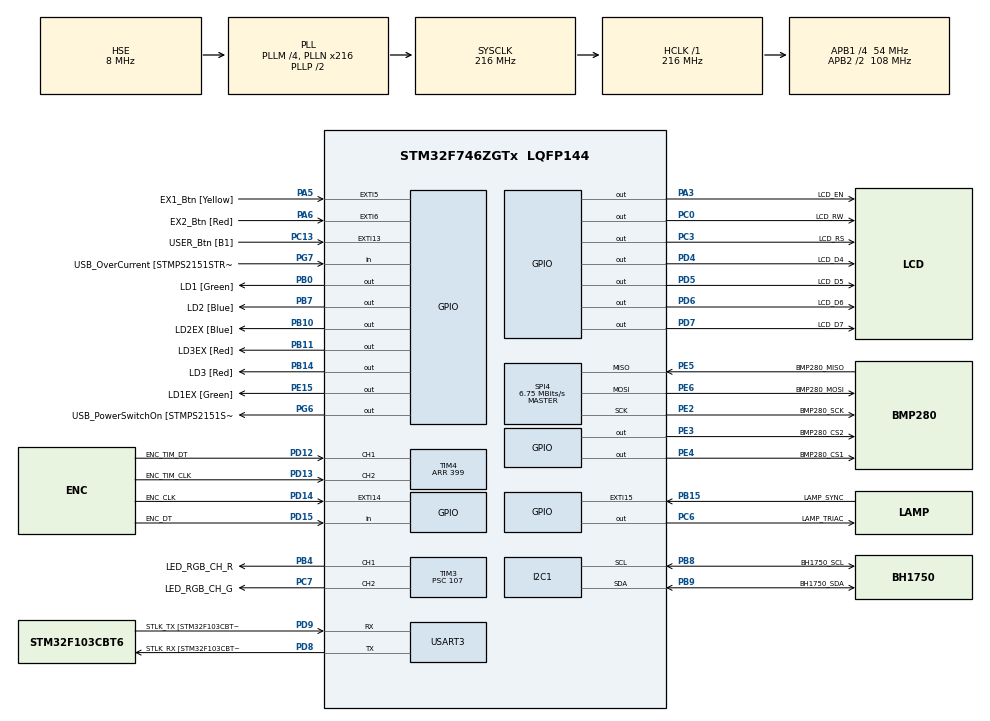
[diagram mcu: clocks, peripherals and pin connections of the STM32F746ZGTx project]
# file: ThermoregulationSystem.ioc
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I2C1.Timing=0x20404768
Mcu.Family=STM32F7
Mcu.Name=STM32F746ZGTx
Mcu.Package=LQFP144
NVIC.EXTI15_10_IRQn=true\:0\:0\:false\:false\:true\:true\:true
NVIC.EXTI9_5_IRQn=true\:0\:0\:false\:false\:true\:true\:true
NVIC.PriorityGroup=NVIC_PRIORITYGROUP_4
NVIC.TIM2_IRQn=true\:0\:0\:false\:false\:true\:true\:true
NVIC.USART3_IRQn=true\:0\:0\:false\:false\:true\:true\:true
PA1.GPIO_Label=RMII_REF_CLK [LAN8742A-CZ-TR_REFCLK0]
PA1.Signal=ETH_REF_CLK
PA10.GPIO_Label=USB_ID
PA10.Signal=USB_OTG_FS_ID
PA11.GPIO_Label=USB_DM
PA11.Signal=USB_OTG_FS_DM
PA12.GPIO_Label=USB_DP
PA12.Signal=USB_OTG_FS_DP
PA13.GPIO_Label=TMS
PA13.Mode=Serial_Wire
PA13.Signal=SYS_JTMS-SWDIO
PA14.GPIO_Label=TCK
PA14.Mode=Serial_Wire
PA14.Signal=SYS_JTCK-SWCLK
PA2.GPIO_Label=RMII_MDIO [LAN8742A-CZ-TR_MDIO]
PA2.Signal=ETH_MDIO
PA3.GPIO_Label=LCD_EN
PA3.Signal=GPIO_Output
PA5.GPIO_Label=EX1_Btn [Yellow]
PA5.GPIO_ModeDefaultEXTI=GPIO_MODE_IT_FALLING
PA5.Signal=GPXTI5
PA6.GPIO_Label=EX2_Btn [Red]
PA6.GPIO_ModeDefaultEXTI=GPIO_MODE_IT_RISING
PA6.Signal=GPXTI6
PA8.GPIO_Label=USB_SOF [TP1]
PA8.Signal=USB_OTG_FS_SOF
PA9.GPIO_Label=USB_VBUS
PA9.Signal=USB_OTG_FS_VBUS
PB0.GPIO_Label=LD1 [Green]
PB0.Signal=GPIO_Output
PB1.GPIO_Label=TM3_PWM_CH4
PB1.Signal=S_TIM3_CH4
PB10.GPIO_Label=LD2EX [Blue]
PB10.Signal=GPIO_Output
PB11.GPIO_Label=LD3EX [Red]
PB11.Signal=GPIO_Output
PB13.GPIO_Label=RMII_TXD1 [LAN8742A-CZ-TR_TXD1]
PB13.Signal=ETH_TXD1
PB14.GPIO_Label=LD3 [Red]
PB14.Signal=GPIO_Output
PB15.GPIO_Label=LAMP_SYNC
PB15.Signal=GPXTI15
PB3.GPIO_Label=SW0
PB3.Signal=SYS_JTDO-SWO
PB4.GPIO_Label=LED_RGB_CH_R
PB4.Signal=S_TIM3_CH1
PB7.GPIO_Label=LD2 [Blue]
PB7.Signal=GPIO_Output
PB8.GPIO_Label=BH1750_SCL
PB8.Mode=I2C
PB8.Signal=I2C1_SCL
PB9.GPIO_Label=BH1750_SDA
PB9.Mode=I2C
PB9.Signal=I2C1_SDA
PC0.GPIO_Label=LCD_RW
PC0.Signal=GPIO_Output
PC1.GPIO_Label=RMII_MDC [LAN8742A-CZ-TR_MDC]
PC1.Signal=ETH_MDC
PC13.GPIO_Label=USER_Btn [B1]
PC13.Signal=GPXTI13
PC14/OSC32_IN.Mode=LSE-External-Oscillator
PC14/OSC32_IN.Signal=RCC_OSC32_IN
PC15/OSC32_OUT.Mode=LSE-External-Oscillator
PC15/OSC32_OUT.Signal=RCC_OSC32_OUT
PC3.GPIO_Label=LCD_RS
PC3.Signal=GPIO_Output
PC4.GPIO_Label=RMII_RXD0 [LAN8742A-CZ-TR_RXD0]
PC4.Signal=ETH_RXD0
PC5.GPIO_Label=RMII_RXD1 [LAN8742A-CZ-TR_RXD1]
PC5.Signal=ETH_RXD1
PC6.GPIO_Label=LAMP_TRIAC
PC6.GPIO_Speed=GPIO_SPEED_FREQ_HIGH
PC6.Signal=GPIO_Output
PC7.GPIO_Label=LED_RGB_CH_G
PC7.Signal=S_TIM3_CH2
PC8.GPIO_Label=LED_RGB_CH_B
PC8.Signal=S_TIM3_CH3
PD12.GPIO_Label=ENC_TIM_DT
PD12.Signal=S_TIM4_CH1
PD13.GPIO_Label=ENC_TIM_CLK
PD13.Signal=S_TIM4_CH2
PD14.GPIO_Label=ENC_CLK
PD14.GPIO_ModeDefaultEXTI=GPIO_MODE_IT_FALLING
PD14.Signal=GPXTI14
PD15.GPIO_Label=ENC_DT
PD15.Signal=GPIO_Input
PD4.GPIO_Label=LCD_D4
PD4.Signal=GPIO_Output
PD5.GPIO_Label=LCD_D5
PD5.Signal=GPIO_Output
PD6.GPIO_Label=LCD_D6
PD6.Signal=GPIO_Output
PD7.GPIO_Label=LCD_D7
PD7.Signal=GPIO_Output
PD8.GPIO_Label=STLK_RX [STM32F103CBT6_PA3]
PD8.Mode=Asynchronous
PD8.Signal=USART3_TX
PD9.GPIO_Label=STLK_TX [STM32F103CBT6_PA2]
PD9.Mode=Asynchronous
PD9.Signal=USART3_RX
PE15.GPIO_Label=LD1EX [Green]
PE15.Signal=GPIO_Output
PE2.GPIO_Label=BMP280_SCK
PE2.Mode=Full_Duplex_Master
PE2.Signal=SPI4_SCK
PE3.GPIO_Label=BMP280_CS2
PE3.GPIO_Speed=GPIO_SPEED_FREQ_VERY_HIGH
PE3.PinState=GPIO_PIN_SET
PE3.Signal=GPIO_Output
PE4.GPIO_Label=BMP280_CS1
PE4.GPIO_Speed=GPIO_SPEED_FREQ_VERY_HIGH
PE4.PinState=GPIO_PIN_SET
PE4.Signal=GPIO_Output
PE5.GPIO_Label=BMP280_MISO
PE5.Mode=Full_Duplex_Master
PE5.Signal=SPI4_MISO
PE6.GPIO_Label=BMP280_MOSI
PE6.Mode=Full_Duplex_Master
PE6.Signal=SPI4_MOSI
PG11.GPIO_Label=RMII_TX_EN [LAN8742A-CZ-TR_TXEN]
PG11.Signal=ETH_TX_EN
PG13.GPIO_Label=RMII_TXD0 [LAN8742A-CZ-TR_TXD0]
PG13.Signal=ETH_TXD0
PG6.GPIO_Label=USB_PowerSwitchOn [STMPS2151STR_EN]
PG6.Signal=GPIO_Output
PG7.GPIO_Label=USB_OverCurrent [STMPS2151STR_FAULT]
PG7.Signal=GPIO_Input
PH0/OSC_IN.GPIO_Label=MCO [STM32F103CBT6_PA8]
PH0/OSC_IN.Mode=HSE-External-Clock-Source
PH0/OSC_IN.Signal=RCC_OSC_IN
PH1/OSC_OUT.Mode=HSE-External-Clock-Source
PH1/OSC_OUT.Signal=RCC_OSC_OUT
ProjectManager.HeapSize=0x200
ProjectManager.StackSize=0x400
ProjectManager.TargetToolchain=STM32CubeIDE
RCC.48MHZClocksFreq_Value=24000000
RCC.AHBFreq_Value=216000000
RCC.APB1CLKDivider=RCC_HCLK_DIV4
RCC.APB1Freq_Value=54000000
RCC.APB1TimFreq_Value=108000000
RCC.APB2CLKDivider=RCC_HCLK_DIV2
RCC.APB2Freq_Value=108000000
RCC.APB2TimFreq_Value=216000000
RCC.CortexFreq_Value=216000000
RCC.HCLKFreq_Value=216000000
RCC.HSE_VALUE=8000000
RCC.HSI_VALUE=16000000
RCC.PLLM=4
RCC.PLLMUL=RCC_PLL_MUL9
RCC.PLLN=216
RCC.PLLQ=3
RCC.PLLSourceVirtual=RCC_PLLSOURCE_HSE
RCC.PRESCALERUSB=RCC_USBCLKSOURCE_PLL_DIV1_5
RCC.SYSCLKFreq_VALUE=216000000
RCC.SYSCLKSource=RCC_SYSCLKSOURCE_PLLCLK
RCC.SYSCLKSourceVirtual=RCC_SYSCLKSOURCE_PLLCLK
RCC.USBFreq_Value=144000000
RCC.VCOOutputFreq_Value=432000000
SH.S_TIM3_CH1.0=TIM3_CH1,PWM Generation1 CH1
SH.S_TIM3_CH2.0=TIM3_CH2,PWM Generation2 CH2
SH.S_TIM3_CH3.0=TIM3_CH3
SH.S_TIM3_CH4.0=TIM3_CH4
SH.S_TIM4_CH1.0=TIM4_CH1,Encoder_Interface
SH.S_TIM4_CH2.0=TIM4_CH2,Encoder_Interface
SPI4.BaudRatePrescaler=SPI_BAUDRATEPRESCALER_16
SPI4.CLKPhase=SPI_PHASE_2EDGE
SPI4.CLKPolarity=SPI_POLARITY_HIGH
SPI4.CalculateBaudRate=6.75 MBits/s
SPI4.DataSize=SPI_DATASIZE_8BIT
SPI4.Direction=SPI_DIRECTION_2LINES
SPI4.Mode=SPI_MODE_MASTER
SPI4.VirtualType=VM_MASTER
TIM2.Period=4999
TIM2.Prescaler=107
TIM3.Channel-PWM\ Generation1\ CH1=TIM_CHANNEL_1
TIM3.Channel-PWM\ Generation2\ CH2=TIM_CHANNEL_2
TIM3.Period=999
TIM3.Prescaler=107
TIM4.EncoderMode=TIM_ENCODERMODE_TI12
TIM4.IC1Polarity=TIM_ICPOLARITY_FALLING
TIM4.IC2Polarity=TIM_ICPOLARITY_FALLING
TIM4.Period=399
TIM5.Prescaler=107
USART3.VirtualMode-Asynchronous=VM_ASYNC
VP_CRC_VS_CRC.Mode=CRC_Activate
VP_TIM2_VS_ClockSourceINT.Mode=Internal
VP_TIM3_VS_ClockSourceINT.Mode=Internal
VP_TIM5_VS_ClockSourceINT.Mode=Internal
board=NUCLEO-F746ZG

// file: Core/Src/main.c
/* USER CODE BEGIN Header */
/**
  ******************************************************************************
  * @file           : main.c
  * @brief          : Main program body
  ******************************************************************************
  * @attention
  *
  * <h2><center>&copy; Copyright (c) 2021 STMicroelectronics.
  * All rights reserved.</center></h2>
  *
  * This software component is licensed by ST under BSD 3-Clause license,
  * the "License"; You may not use this file except in compliance with the
  * License. You may obtain a copy of the License at:
  *                        opensource.org/licenses/BSD-3-Clause
  *
  ******************************************************************************
  */
/* USER CODE END Header */
#include "main.h"
#include "crc.h"
#include "i2c.h"
#include "spi.h"
#include "tim.h"
#include "usart.h"
#include "gpio.h"

/* USER CODE BEGIN Includes */
#include "bmp280_config.h"
#include "lcd_config.h"
#include "encoder_config.h"
#include "encoder.h"
#include "heater_pwm_config.h"
#include "heater_pwm.h"
#include "fan_pwm.h"
#include "fan_pwm_config.h"
/* USER CODE END Includes */

/* USER CODE BEGIN PM */
char rx_buffer[4];
uint16_t new_value;
uint8_t fan_percent=0;
uint8_t heater_percent=0;
uint16_t start_value = 2500;

/* USER CODE END PM */

void SystemClock_Config(void);
/* USER CODE BEGIN PFP */
void HAL_UART_RxCpltCallback(UART_HandleTypeDef *huart)
 {
	if(huart->Instance==USART3)
	 {
		int i;
		sscanf(rx_buffer, "%d", &i);
		if (i<=3500 && i>=2500)	new_value = i;
		ENC_SetCounter(&henc1,4*(new_value - start_value)/10);

	 }
	HAL_UART_Receive_IT(&huart3, (uint8_t*)rx_buffer, 4);
 }

/* USER CODE END PFP */

/* USER CODE BEGIN 0 */

uint32_t crcVal;
/* USER CODE END 0 */

int main(void)
{
  /* USER CODE BEGIN 1 */
	struct bmp280_uncomp_data bmp280_1_data;
	int32_t temp32;
	double temp;
	char message[20];
	uint32_t encoder_count; //Encoder value
	float error=0;
	float reset=0;
  /* USER CODE END 1 */

  /* MCU Configuration--------------------------------------------------------*/

  /* Reset of all peripherals, Initializes the Flash interface and the Systick. */
  HAL_Init();

  /* Configure the system clock */
  SystemClock_Config();

  /* Initialize all configured peripherals */
  MX_GPIO_Init();
  MX_USART3_UART_Init();
  MX_TIM2_Init();
  MX_TIM3_Init();
  MX_TIM4_Init();
  MX_I2C1_Init();
  MX_SPI4_Init();
  MX_TIM5_Init();
  MX_CRC_Init();
  /* USER CODE BEGIN 2 */

  /** Sensor initialization *******************************************/
  BMP280_Init(&bmp280_1);

  /** Heater PWM initialization *******************************************/

  //HAL_TIM_PWM_Start(&htim3, TIM_CHANNEL_1);
  //__HAL_TIM_SET_COMPARE(&htim3, TIM_CHANNEL_1, 0);
  HEATER_PWM_Init(&heaterpwm1);
  HEATER_PWM_SetDuty(&heaterpwm1, heater_percent);

  /** Fan PWM initialization *******************************************/
  //HAL_TIM_PWM_Start(&htim3, TIM_CHANNEL_2);
  //__HAL_TIM_SET_COMPARE(&htim3, TIM_CHANNEL_2, 0);
  FAN_PWM_Init(&fanpwm1);
  FAN_PWM_SetDuty(&fanpwm1, fan_percent);

  HAL_UART_Receive_IT(&huart3, (uint8_t*)rx_buffer, 4);

  /** LCD with user menu initialization **************************************************/
   LCD_Init(&hlcd1);

  /** Rotary quadrature encoder initialization *******************************************/
   ENC_Init(&henc1);

   //encoder_count = ENC_GetCounter(&henc1);

  /* USER CODE END 2 */

  /* Infinite loop */
  /* USER CODE BEGIN WHILE */
  while (1)
  {

	  // Read rotary encoder counter

	  encoder_count = ENC_GetCounter(&henc1);
	  new_value = (int)(start_value + 10 * ((float)encoder_count)/4.0);

	  /* Reading the raw data from sensor */
	  bmp280_get_uncomp_data(&bmp280_1_data, &bmp280_1);

	  /* Getting the 32 bit compensated temperature */
	  bmp280_get_comp_temp_32bit(&temp32, bmp280_1_data.uncomp_temp, &bmp280_1);

	  // temp destination, temp actual, fan speed percentage
	  _LCD_Show(&hlcd1, new_value,temp32 ,fan_percent);

	  // char messagetemp destination, temp actual, fan speed percentage
	  _Message_Generate(&message,temp32, new_value, fan_percent);

	  HAL_UART_Transmit(&huart3, (uint8_t*)message,  strlen(message), 1000);

	  HAL_Delay(100);

	  error = (new_value - temp32)/1000.0;

	  if(error>0) // heater(reistor)
	  {
		  heater_percent = 100;
		  fan_percent = 0;
		  HEATER_PWM_SetDuty(&heaterpwm1, heater_percent);
		  FAN_PWM_SetDuty(&fanpwm1, fan_percent);
	  }
	  else if(error<0) //cooler(fan)
	  {
		  fan_percent = 100;
		  heater_percent = 0;
		  HEATER_PWM_SetDuty(&heaterpwm1, heater_percent);
		  FAN_PWM_SetDuty(&fanpwm1, fan_percent);
	  }

    /* USER CODE END WHILE */

  }
}

void SystemClock_Config(void)
{
  RCC_OscInitTypeDef RCC_OscInitStruct = {0};
  RCC_ClkInitTypeDef RCC_ClkInitStruct = {0};
  RCC_PeriphCLKInitTypeDef PeriphClkInitStruct = {0};

  /** Configure LSE Drive Capability
  */
  HAL_PWR_EnableBkUpAccess();
  /** Configure the main internal regulator output voltage
  */
  __HAL_RCC_PWR_CLK_ENABLE();
  __HAL_PWR_VOLTAGESCALING_CONFIG(PWR_REGULATOR_VOLTAGE_SCALE1);
  /** Initializes the RCC Oscillators according to the specified parameters
  * in the RCC_OscInitTypeDef structure.
  */
  RCC_OscInitStruct.OscillatorType = RCC_OSCILLATORTYPE_HSE;
  RCC_OscInitStruct.HSEState = RCC_HSE_BYPASS;
  RCC_OscInitStruct.PLL.PLLState = RCC_PLL_ON;
  RCC_OscInitStruct.PLL.PLLSource = RCC_PLLSOURCE_HSE;
  RCC_OscInitStruct.PLL.PLLM = 4;
  RCC_OscInitStruct.PLL.PLLN = 216;
  RCC_OscInitStruct.PLL.PLLP = RCC_PLLP_DIV2;
  RCC_OscInitStruct.PLL.PLLQ = 3;
  if (HAL_RCC_OscConfig(&RCC_OscInitStruct) != HAL_OK)
  {
    Error_Handler();
  }
  /** Activate the Over-Drive mode
  */
  if (HAL_PWREx_EnableOverDrive() != HAL_OK)
  {
    Error_Handler();
  }
  /** Initializes the CPU, AHB and APB buses clocks
  */
  RCC_ClkInitStruct.ClockType = RCC_CLOCKTYPE_HCLK|RCC_CLOCKTYPE_SYSCLK
                              |RCC_CLOCKTYPE_PCLK1|RCC_CLOCKTYPE_PCLK2;
  RCC_ClkInitStruct.SYSCLKSource = RCC_SYSCLKSOURCE_PLLCLK;
  RCC_ClkInitStruct.AHBCLKDivider = RCC_SYSCLK_DIV1;
  RCC_ClkInitStruct.APB1CLKDivider = RCC_HCLK_DIV4;
  RCC_ClkInitStruct.APB2CLKDivider = RCC_HCLK_DIV2;

  if (HAL_RCC_ClockConfig(&RCC_ClkInitStruct, FLASH_LATENCY_7) != HAL_OK)
  {
    Error_Handler();
  }
  PeriphClkInitStruct.PeriphClockSelection = RCC_PERIPHCLK_USART3|RCC_PERIPHCLK_I2C1;
  PeriphClkInitStruct.Usart3ClockSelection = RCC_USART3CLKSOURCE_PCLK1;
  PeriphClkInitStruct.I2c1ClockSelection = RCC_I2C1CLKSOURCE_PCLK1;
  if (HAL_RCCEx_PeriphCLKConfig(&PeriphClkInitStruct) != HAL_OK)
  {
    Error_Handler();
  }
}

void Error_Handler(void)
{
}

/************************ (C) COPYRIGHT STMicroelectronics *****END OF FILE****/
